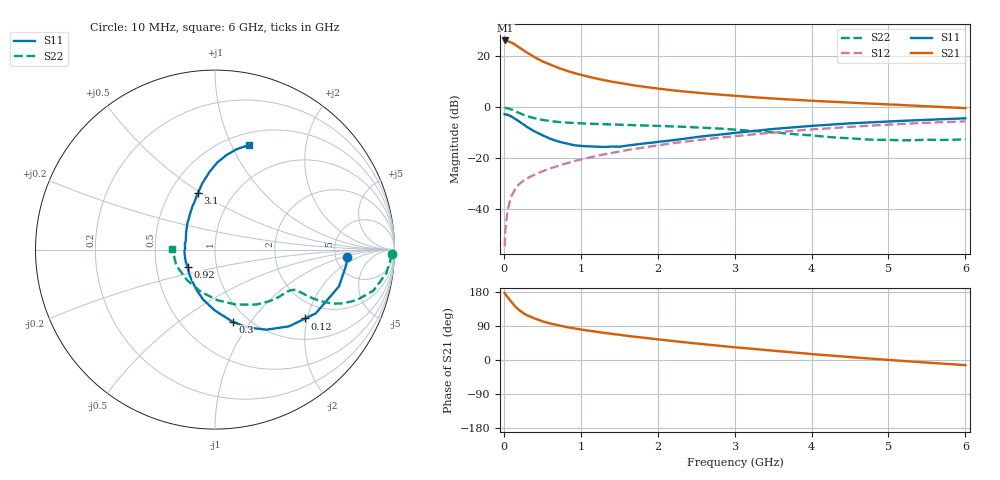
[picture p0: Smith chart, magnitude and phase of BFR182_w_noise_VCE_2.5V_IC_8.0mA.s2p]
! Infineon Technologies  Discrete & RF Semiconductors
! BFR182
! VCE =  2.5 V,  IC =  8.0 mA
! Common Emitter S-Parameters:  Nov 2015
# GHz  S  MA  R  50
!  f  S11  S21  S12  S22
! GHz  MAG  ANG  MAG  ANG  MAG  ANG  MAG  ANG
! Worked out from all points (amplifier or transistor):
!   210 points, 10 MHz to 6 GHz, reference 50 ohm
!   highest |S21| = 26.3 dB at 20 MHz (marker M1)
!   |S21| within 3 dB of that: start of sweep to 212.7 MHz
!   unconditionally stable (mu >= 1): 848.1 MHz to 2.685 GHz
!   at 185 MHz: K = 0.45, MSG = 27.2 dB, |S12| = -30.6 dB
!   at 1.52 GHz: K = 1.06, MAG = 11.9 dB, |S12| = -17.2 dB
!   at 6 GHz: K = 0.89, MSG = 2.6 dB, |S12| = -5.5 dB
!   lowest NFmin = 1.40 dB at 450 MHz
!   S11 on the Smith chart (normalised r, x): 10 MHz: 6.40, -1.23; 120 MHz: 1.52, -1.94; 300 MHz: 0.85, -0.83; 920 MHz: 0.72, -0.14; 3.1 GHz: 0.69, +0.48; 6 GHz: 0.63, +1.16
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0.01  0.7384 -3.4  20.54 177.0  0.0019 83.7  0.9854 -1.5
0.02  0.7356 -6.9  20.56 173.7  0.0039 81.6  0.9797 -3.2
0.05  0.7206 -16.5  20.04 165.5  0.0094 82.1  0.9637 -7.8
0.09  0.6713 -28.9  18.86 155.2  0.0166 77.2  0.9212 -13.1
0.1  0.6644 -32.3  18.66 152.5  0.0184 76.6  0.9119 -14.5
0.12  0.632 -37.4  17.85 148.0  0.0211 73.6  0.8823 -16.4
0.15  0.5941 -46.0  16.86 140.5  0.0253 70.3  0.8398 -19.5
0.2  0.5309 -57.2  15 131.7  0.0313 67.1  0.7782 -22.6
0.26  0.458 -69.0  13.05 122.8  0.037 65.1  0.7132 -24.8
0.3  0.4148 -76.2  11.91 118.0  0.0405 64.6  0.6758 -25.7
0.4  0.3378 -90.5  9.661 109.4  0.0479 64.0  0.6118 -26.5
0.5  0.2862 -103.4  8.015 102.0  0.0556 64.2  0.5689 -26.6
0.6  0.244 -115.6  6.892 96.4  0.0637 64.7  0.5396 -26.5
0.7  0.2167 -126.2  6.029 91.6  0.0709 65.4  0.5193 -26.6
0.92  0.181 -147.7  4.691 83.2  0.0888 66.2  0.4938 -27.0
1.02  0.1753 -159.3  4.28 79.9  0.0966 66.4  0.4856 -27.6
1.4  0.1713 168.4  3.2 69.1  0.128 65.9  0.4638 -30.9
2.02  0.2123 136.5  2.324 54.1  0.1821 62.7  0.4355 -38.7
3.1  0.3276 107.0  1.642 31.9  0.2824 53.7  0.3585 -58.8
4.1  0.4441 92.8  1.328 14.2  0.3781 42.9  0.2731 -90.8
5.1  0.5391 81.9  1.127 -1.3  0.4682 30.6  0.2277 -137.2
6  0.6109 72.2  0.968 -13.6  0.532 18.1  0.2378 178.7
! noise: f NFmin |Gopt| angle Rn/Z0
0.45  1.4  0.26  41  0.29
0.9  1.5  0.25  83  0.23
1.8  2  0.21  162  0.2
